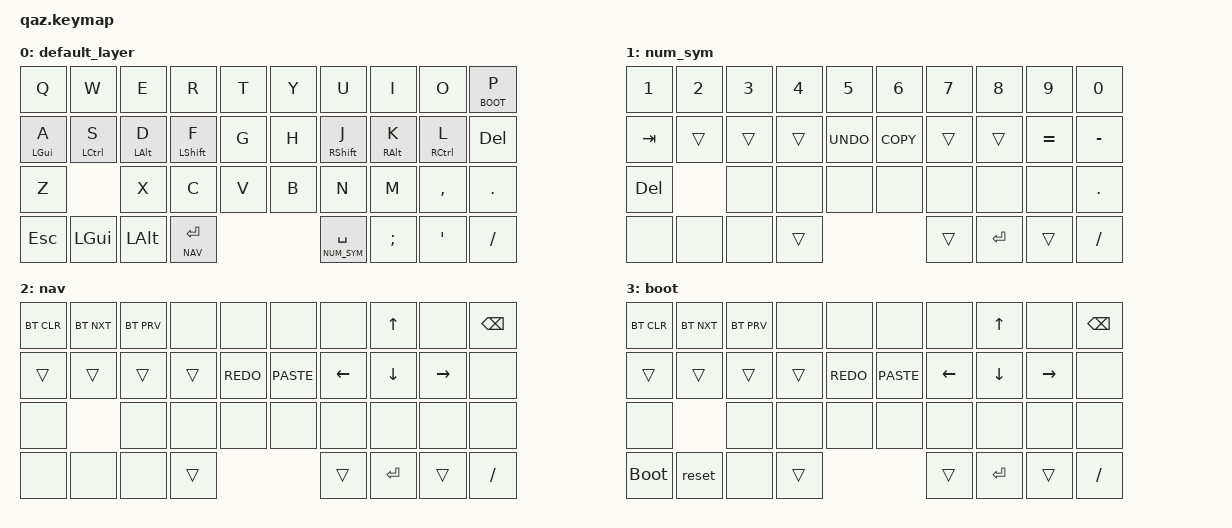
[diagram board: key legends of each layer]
/*
 * Copyright (c) 2020 The ZMK Contributors
 *
 * SPDX-License-Identifier: MIT
 */

#include <behaviors.dtsi>
#include <dt-bindings/zmk/keys.h>
#include <dt-bindings/zmk/bt.h>

#define DEFAULT 0
#define NUM_SYM 1
#define NAV     2
#define BOOT    3

/ {
    behaviors {
        hm: homerow_mods {
            compatible = "zmk,behavior-hold-tap";
            label = "homerow mods";
            #binding-cells = <2>;
            tapping-term-ms = <225>;
            flavor = "tap-preferred";
            bindings = <&kp>, <&kp>;
        };
    };
};

/ {
    keymap {
        compatible = "zmk,keymap";

        default_layer {
            bindings = <
    &kp Q      &kp W      &kp E       &kp R       &kp T  &kp Y  &kp U       &kp I       &kp O      &lt BOOT P
    &hm LGUI A &hm LCTRL S &hm LALT D &hm LSHFT F &kp G  &kp H  &hm RSHFT J &hm RALT K &hm RCTRL L &kp DEL
    &kp Z                 &kp X       &kp C       &kp V  &kp B  &kp N       &kp M       &kp COMMA  &kp DOT
    &kp ESC    &kp LGUI   &kp LALT       &lt NAV RET    &lt NUM_SYM SPACE   &kp SEMI    &kp SQT    &kp FSLH
            >;
        };
        num_sym {
            bindings = <
    &kp N1     &kp N2     &kp N3     &kp N4     &kp N5 &kp N6 &kp N7     &kp N8      &kp N9    &kp N0
    &kp TAB    &trans     &trans     &trans     &kp K_UNDO &kp K_COPY &trans   &trans      &kp EQUAL &kp MINUS
    &kp DEL               &none      &none      &none  &none  &none      &none       &none     &kp DOT
    &none      &none    &none         &trans        &trans             &kp RET     &trans    &kp FSLH
            >;
        };

    nav {
            bindings = <
    &bt BT_CLR &bt BT_NXT &bt BT_PRV &none       &none &none &none       &kp UP       &none     &kp BSPC
    &trans     &trans     &trans     &trans   &kp K_REDO &kp K_PASTE &kp LEFT  &kp DOWN     &kp RIGHT &none
    &none                 &none      &none       &none &none &none       &none        &none     &none
    &none      &none      &none         &trans        &trans             &kp RET      &trans    &kp FSLH
            >;
        };
    boot {
            bindings = <
    &bt BT_CLR &bt BT_NXT &bt BT_PRV &none       &none &none &none       &kp UP       &none     &kp BSPC
    &trans     &trans     &trans     &trans   &kp K_REDO &kp K_PASTE &kp LEFT  &kp DOWN     &kp RIGHT &none
    &none                 &none      &none       &none &none &none       &none        &none     &none
    &bootloader &reset      &none         &trans        &trans             &kp RET      &trans    &kp FSLH
            >;
        };
    };
};
